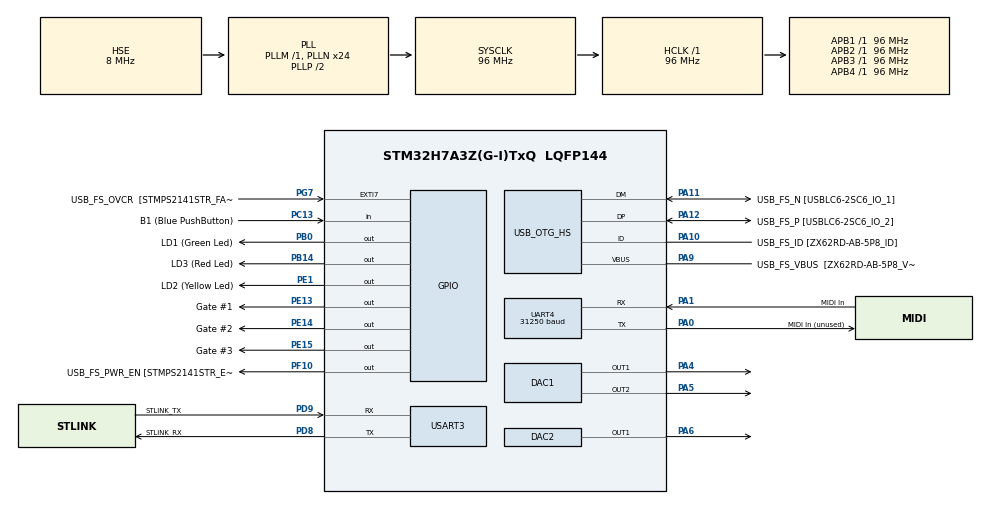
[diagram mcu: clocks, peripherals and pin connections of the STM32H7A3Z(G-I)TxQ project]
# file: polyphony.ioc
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DAC1.DAC_Channel-DAC_OUT1_ExtAndInt=DAC_CHANNEL_1
DAC1.DAC_Channel-DAC_OUT2_ExtAndInt=DAC_CHANNEL_2
DAC2.DAC_Channel-DAC_OUT1_ExtAndInt=DAC_CHANNEL_1
Mcu.Family=STM32H7
Mcu.Name=STM32H7A3Z(G-I)TxQ
Mcu.Package=LQFP144
NVIC.PriorityGroup=NVIC_PRIORITYGROUP_4
NVIC.TIM16_IRQn=true\:0\:0\:false\:false\:true\:true\:true
NVIC.UART4_IRQn=true\:0\:0\:false\:false\:true\:true\:true
PA0.GPIO_Label=MIDI In (unused)
PA0.Mode=Asynchronous
PA0.Signal=UART4_TX
PA1.GPIO_Label=MIDI In
PA1.Mode=Asynchronous
PA1.Signal=UART4_RX
PA10.GPIO_Label=USB_FS_ID [ZX62RD-AB-5P8_ID]
PA10.Mode=OTG/Dual-Role-Device-FS
PA10.Signal=USB_OTG_HS_ID
PA11.GPIO_Label=USB_FS_N [USBLC6-2SC6_IO_1]
PA11.Mode=OTG/Dual-Role-Device-FS
PA11.Signal=USB_OTG_HS_DM
PA12.GPIO_Label=USB_FS_P [USBLC6-2SC6_IO_2]
PA12.Mode=OTG/Dual-Role-Device-FS
PA12.Signal=USB_OTG_HS_DP
PA4.Signal=COMP_DAC11_group
PA5.Signal=COMP_DAC12_group
PA6.Signal=COMP_DAC21_group
PA9.GPIO_Label=USB_FS_VBUS  [ZX62RD-AB-5P8_VBUS]
PA9.Mode=Activate_VBUS_FS
PA9.Signal=USB_OTG_HS_VBUS
PB0.GPIO_Label=LD1 (Green Led)
PB0.Signal=GPIO_Output
PB14.GPIO_Label=LD3 (Red Led)
PB14.Signal=GPIO_Output
PC13.GPIO_Label=B1 (Blue PushButton)
PC13.Signal=GPIO_Input
PC14-OSC32_IN.GPIO_Label=OSC32_IN
PC14-OSC32_IN.Mode=LSE-External-Oscillator
PC14-OSC32_IN.Signal=RCC_OSC32_IN
PC15-OSC32_OUT.GPIO_Label=OSC32_OUT
PC15-OSC32_OUT.Mode=LSE-External-Oscillator
PC15-OSC32_OUT.Signal=RCC_OSC32_OUT
PD8.GPIO_Label=STLINK_RX
PD8.Mode=Asynchronous
PD8.Signal=USART3_TX
PD9.GPIO_Label=STLINK_TX
PD9.Mode=Asynchronous
PD9.Signal=USART3_RX
PE1.GPIO_Label=LD2 (Yellow Led)
PE1.Signal=GPIO_Output
PE13.GPIO_Label=Gate \#1
PE13.GPIO_PuPd=GPIO_PULLDOWN
PE13.PinState=GPIO_PIN_SET
PE13.Signal=GPIO_Output
PE14.GPIO_Label=Gate \#2
PE14.PinState=GPIO_PIN_SET
PE14.Signal=GPIO_Output
PE15.GPIO_Label=Gate \#3
PE15.GPIO_PuPd=GPIO_PULLDOWN
PE15.PinState=GPIO_PIN_SET
PE15.Signal=GPIO_Output
PF10.GPIO_Label=USB_FS_PWR_EN [STMPS2141STR_EN]
PF10.Signal=GPIO_Output
PG7.GPIO_Label=USB_FS_OVCR  [STMPS2141STR_FAULT]
PG7.Signal=GPXTI7
PH0-OSC_IN.GPIO_Label=PH0-MCU
PH0-OSC_IN.Mode=HSE-External-Clock-Source
PH0-OSC_IN.Signal=RCC_OSC_IN
PH1-OSC_OUT.GPIO_Label=PH1-MCU
PH1-OSC_OUT.Signal=RCC_OSC_OUT
ProjectManager.HeapSize=0x200
ProjectManager.StackSize=0x400
ProjectManager.TargetToolchain=STM32CubeIDE
RCC.ADCFreq_Value=16125000
RCC.APB1Freq_Value=96000000
RCC.APB2Freq_Value=96000000
RCC.APB3Freq_Value=96000000
RCC.APB4Freq_Value=96000000
RCC.CortexFreq_Value=96000000
RCC.DIVM1=1
RCC.DIVM3=1
RCC.DIVN1=24
RCC.DIVN3=24
RCC.DIVQ1=4
RCC.HCLKFreq_Value=96000000
RCC.HSE_VALUE=8000000
RCC.PLLFRACN=0
RCC.PLLSourceVirtual=RCC_PLLSOURCE_HSE
RCC.PWR_Regulator_Voltage_Scale=PWR_REGULATOR_VOLTAGE_SCALE0
RCC.SYSCLKFreq_VALUE=96000000
RCC.SYSCLKSource=RCC_SYSCLKSOURCE_PLLCLK
RCC.SupplySource=PWR_DIRECT_SMPS_SUPPLY
RCC.USBCLockSelection=RCC_USBCLKSOURCE_HSI48
RCC.USBFreq_Value=48000000
SH.COMP_DAC11_group.0=DAC1_OUT1,DAC_OUT1_ExtAndInt
SH.COMP_DAC12_group.0=DAC1_OUT2,DAC_OUT2_ExtAndInt
SH.COMP_DAC21_group.0=DAC2_OUT1,DAC_OUT1_ExtAndInt
UART4.BaudRate=31250
USART3.VirtualMode-Asynchronous=VM_ASYNC
VP_TIM16_VS_ClockSourceINT.Mode=Enable_Timer
board=NUCLEO-H7A3ZI-Q

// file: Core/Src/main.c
/* USER CODE BEGIN Header */
/**
  ******************************************************************************
  * @file           : main.c
  * @brief          : Main program body
  ******************************************************************************
  * @attention
  *
  * <h2><center>&copy; Copyright (c) 2021 STMicroelectronics.
  * All rights reserved.</center></h2>
  *
  * This software component is licensed by ST under BSD 3-Clause license,
  * the "License"; You may not use this file except in compliance with the
  * License. You may obtain a copy of the License at:
  *                        opensource.org/licenses/BSD-3-Clause
  *
  ******************************************************************************
  */

#include <stdio.h>
#include "main.h"
#include "buffer.h"
#include "midi.h"
#include "misc.h"
/* USER CODE END Header */
#include "main.h"

/* USER CODE BEGIN PD */
#define OUTPUT_BUFFERSIZE 512 // need 2^n
#define VOLTAGE_SCALE_FACTOR 0.25
#define GATE_VOLTAGE_SETTING 5.0
#define DAC_OUTPUT_MAX 4095
/* USER CODE END PD */

DAC_HandleTypeDef hdac1;
DAC_HandleTypeDef hdac2;

TIM_HandleTypeDef htim16;

UART_HandleTypeDef huart4;
UART_HandleTypeDef huart3;

/* USER CODE BEGIN PV */
uint8_t midi_received_buf;

typedef struct {
	uint16_t buffer[OUTPUT_BUFFERSIZE * 2];
	volatile uint16_t idx;
	uint8_t started_flag;
	int16_t err_distance;
} output_buffer_t;

output_buffer_t outbuf;
/* USER CODE END PV */

void SystemClock_Config(void);
static void MX_GPIO_Init(void);
static void MX_USART3_UART_Init(void);
static void MX_USB_OTG_HS_USB_Init(void);
static void MX_DAC1_Init(void);
static void MX_DAC2_Init(void);
static void MX_TIM16_Init(void);
static void MX_UART4_Init(void);

/* USER CODE BEGIN 0 */
void user_init()
{
	outbuf.idx = 0;
	outbuf.started_flag = 0;
	outbuf.err_distance = 0;

	// MIDI Initializations.
	if (midi_init() == FUNC_ERROR) {
		while(1);
	}

	HAL_DAC_Start(&hdac1, DAC_CHANNEL_1);
    HAL_DAC_Start(&hdac1, DAC_CHANNEL_2);
    HAL_DAC_Start(&hdac2, DAC_CHANNEL_1);

	// start MIDI message reception with interrupt.
	HAL_UART_Receive_IT(&huart4, &midi_received_buf, 1);

	// Start the timer.
	HAL_TIM_Base_Start_IT(&htim16);
}

void update_dac_values() {
	uint8_t i;
	uint32_t cv_out;
	uint8_t gate_out;
	for (i = 0; i < MAX_VOICES; i++) {
		cv_out = 0;
		gate_out = 0;

		cv_out = (uint32_t)((voices[i].note_number * 0.0833333333 * VOLTAGE_SCALE_FACTOR) / (3.3 / 4096));
		if (cv_out >= DAC_OUTPUT_MAX) {
			cv_out = (uint32_t)DAC_OUTPUT_MAX;
		}

		if (voices[i].active) {
			gate_out = 1;
		}

		// Send CV to relevant DAC.
		if (i == 0) {
			HAL_DAC_SetValue(&hdac1, DAC_CHANNEL_1, DAC_ALIGN_12B_R, cv_out);
		} else if (i == 1) {
			HAL_DAC_SetValue(&hdac1, DAC_CHANNEL_2, DAC_ALIGN_12B_R, cv_out);
		} else {
			HAL_DAC_SetValue(&hdac2, DAC_CHANNEL_1, DAC_ALIGN_12B_R, cv_out);
		}

		// Send Gate to relevant GPIO.
		if (i == 0) {
			HAL_GPIO_WritePin(GPIOE, GPIO_PIN_13, gate_out);
		} else if (i == 1) {
			HAL_GPIO_WritePin(GPIOE, GPIO_PIN_14, gate_out);
		} else {
			HAL_GPIO_WritePin(GPIOE, GPIO_PIN_15, gate_out);
		}
	}
}

void monitoring_buffer()
{
	// monitoring output buffer.
	if (outbuf.err_distance < -1 * OUTPUT_BUFFERSIZE) {
		// if buffer under-run error occurs.
		outbuf.idx += OUTPUT_BUFFERSIZE;
		outbuf.err_distance += OUTPUT_BUFFERSIZE;
	} else if (OUTPUT_BUFFERSIZE < outbuf.err_distance) {
		// if buffer over-run error occurs.
		outbuf.idx -= OUTPUT_BUFFERSIZE;
		outbuf.err_distance -= OUTPUT_BUFFERSIZE;
	}
}

void HAL_UART_RxCpltCallback(UART_HandleTypeDef *huart)
{
	if(huart->Instance == UART4)
	{
		midi_buffer_enqueue(&midi_received_buf);
		HAL_UART_Receive_IT(&huart4, &midi_received_buf, 1);
	}
}
void HAL_TIM_PeriodElapsedCallback(TIM_HandleTypeDef *htim)
{
	// Emit CV/Gate voltages.
	update_dac_values();
}
/* USER CODE END 0 */

int main(void)
{

  /* MCU Configuration--------------------------------------------------------*/

  /* Reset of all peripherals, Initializes the Flash interface and the Systick. */
  HAL_Init();

  /* USER CODE BEGIN Init */
	setbuf(stdout, NULL);
  /* USER CODE END Init */

  /* Configure the system clock */
  SystemClock_Config();

  /* Initialize all configured peripherals */
  MX_GPIO_Init();
  MX_USART3_UART_Init();
  MX_USB_OTG_HS_USB_Init();
  MX_DAC1_Init();
  MX_DAC2_Init();
  MX_TIM16_Init();
  MX_UART4_Init();
  /* USER CODE BEGIN 2 */

	user_init();

  /* USER CODE END 2 */

  /* Infinite loop */
  /* USER CODE BEGIN WHILE */
	while (1)
	{
		// Check for new MIDI events in the queue.
		midi_main();

		// Buffer maintenance.
		monitoring_buffer();
    /* USER CODE END WHILE */

	}
}

void SystemClock_Config(void)
{
  RCC_OscInitTypeDef RCC_OscInitStruct = {0};
  RCC_ClkInitTypeDef RCC_ClkInitStruct = {0};

  /** Supply configuration update enable
  */
  HAL_PWREx_ConfigSupply(PWR_DIRECT_SMPS_SUPPLY);
  /** Configure the main internal regulator output voltage
  */
  __HAL_PWR_VOLTAGESCALING_CONFIG(PWR_REGULATOR_VOLTAGE_SCALE0);

  while(!__HAL_PWR_GET_FLAG(PWR_FLAG_VOSRDY)) {}
  /** Initializes the RCC Oscillators according to the specified parameters
  * in the RCC_OscInitTypeDef structure.
  */
  RCC_OscInitStruct.OscillatorType = RCC_OSCILLATORTYPE_HSI48|RCC_OSCILLATORTYPE_LSI
                              |RCC_OSCILLATORTYPE_HSE;
  RCC_OscInitStruct.HSEState = RCC_HSE_BYPASS;
  RCC_OscInitStruct.LSIState = RCC_LSI_ON;
  RCC_OscInitStruct.HSI48State = RCC_HSI48_ON;
  RCC_OscInitStruct.PLL.PLLState = RCC_PLL_ON;
  RCC_OscInitStruct.PLL.PLLSource = RCC_PLLSOURCE_HSE;
  RCC_OscInitStruct.PLL.PLLM = 1;
  RCC_OscInitStruct.PLL.PLLN = 24;
  RCC_OscInitStruct.PLL.PLLP = 2;
  RCC_OscInitStruct.PLL.PLLQ = 4;
  RCC_OscInitStruct.PLL.PLLR = 2;
  RCC_OscInitStruct.PLL.PLLRGE = RCC_PLL1VCIRANGE_3;
  RCC_OscInitStruct.PLL.PLLVCOSEL = RCC_PLL1VCOWIDE;
  RCC_OscInitStruct.PLL.PLLFRACN = 0;
  if (HAL_RCC_OscConfig(&RCC_OscInitStruct) != HAL_OK)
  {
    Error_Handler();
  }
  /** Initializes the CPU, AHB and APB buses clocks
  */
  RCC_ClkInitStruct.ClockType = RCC_CLOCKTYPE_HCLK|RCC_CLOCKTYPE_SYSCLK
                              |RCC_CLOCKTYPE_PCLK1|RCC_CLOCKTYPE_PCLK2
                              |RCC_CLOCKTYPE_D3PCLK1|RCC_CLOCKTYPE_D1PCLK1;
  RCC_ClkInitStruct.SYSCLKSource = RCC_SYSCLKSOURCE_PLLCLK;
  RCC_ClkInitStruct.SYSCLKDivider = RCC_SYSCLK_DIV1;
  RCC_ClkInitStruct.AHBCLKDivider = RCC_HCLK_DIV1;
  RCC_ClkInitStruct.APB3CLKDivider = RCC_APB3_DIV1;
  RCC_ClkInitStruct.APB1CLKDivider = RCC_APB1_DIV1;
  RCC_ClkInitStruct.APB2CLKDivider = RCC_APB2_DIV1;
  RCC_ClkInitStruct.APB4CLKDivider = RCC_APB4_DIV1;

  if (HAL_RCC_ClockConfig(&RCC_ClkInitStruct, FLASH_LATENCY_2) != HAL_OK)
  {
    Error_Handler();
  }
}

static void MX_DAC1_Init(void)
{

  DAC_ChannelConfTypeDef sConfig = {0};

  /** DAC Initialization
  */
  hdac1.Instance = DAC1;
  if (HAL_DAC_Init(&hdac1) != HAL_OK)
  {
    Error_Handler();
  }
  /** DAC channel OUT1 config
  */
  sConfig.DAC_SampleAndHold = DAC_SAMPLEANDHOLD_DISABLE;
  sConfig.DAC_Trigger = DAC_TRIGGER_NONE;
  sConfig.DAC_OutputBuffer = DAC_OUTPUTBUFFER_ENABLE;
  sConfig.DAC_ConnectOnChipPeripheral = DAC_CHIPCONNECT_ENABLE;
  sConfig.DAC_UserTrimming = DAC_TRIMMING_FACTORY;
  if (HAL_DAC_ConfigChannel(&hdac1, &sConfig, DAC_CHANNEL_1) != HAL_OK)
  {
    Error_Handler();
  }
  /** DAC channel OUT2 config
  */
  if (HAL_DAC_ConfigChannel(&hdac1, &sConfig, DAC_CHANNEL_2) != HAL_OK)
  {
    Error_Handler();
  }

}

static void MX_DAC2_Init(void)
{

  DAC_ChannelConfTypeDef sConfig = {0};

  /** DAC Initialization
  */
  hdac2.Instance = DAC2;
  if (HAL_DAC_Init(&hdac2) != HAL_OK)
  {
    Error_Handler();
  }
  /** DAC channel OUT1 config
  */
  sConfig.DAC_SampleAndHold = DAC_SAMPLEANDHOLD_DISABLE;
  sConfig.DAC_Trigger = DAC_TRIGGER_NONE;
  sConfig.DAC_OutputBuffer = DAC_OUTPUTBUFFER_ENABLE;
  sConfig.DAC_ConnectOnChipPeripheral = DAC_CHIPCONNECT_ENABLE;
  sConfig.DAC_UserTrimming = DAC_TRIMMING_FACTORY;
  if (HAL_DAC_ConfigChannel(&hdac2, &sConfig, DAC_CHANNEL_1) != HAL_OK)
  {
    Error_Handler();
  }

}

static void MX_TIM16_Init(void)
{

  htim16.Instance = TIM16;
  htim16.Init.Prescaler = 0;
  htim16.Init.CounterMode = TIM_COUNTERMODE_UP;
  htim16.Init.Period = 65535;
  htim16.Init.ClockDivision = TIM_CLOCKDIVISION_DIV1;
  htim16.Init.RepetitionCounter = 0;
  htim16.Init.AutoReloadPreload = TIM_AUTORELOAD_PRELOAD_DISABLE;
  if (HAL_TIM_Base_Init(&htim16) != HAL_OK)
  {
    Error_Handler();
  }

}

static void MX_UART4_Init(void)
{

  huart4.Instance = UART4;
  huart4.Init.BaudRate = 31250;
  huart4.Init.WordLength = UART_WORDLENGTH_8B;
  huart4.Init.StopBits = UART_STOPBITS_1;
  huart4.Init.Parity = UART_PARITY_NONE;
  huart4.Init.Mode = UART_MODE_TX_RX;
  huart4.Init.HwFlowCtl = UART_HWCONTROL_NONE;
  huart4.Init.OverSampling = UART_OVERSAMPLING_16;
  huart4.Init.OneBitSampling = UART_ONE_BIT_SAMPLE_DISABLE;
  huart4.Init.ClockPrescaler = UART_PRESCALER_DIV1;
  huart4.AdvancedInit.AdvFeatureInit = UART_ADVFEATURE_NO_INIT;
  if (HAL_UART_Init(&huart4) != HAL_OK)
  {
    Error_Handler();
  }
  if (HAL_UARTEx_SetTxFifoThreshold(&huart4, UART_TXFIFO_THRESHOLD_1_8) != HAL_OK)
  {
    Error_Handler();
  }
  if (HAL_UARTEx_SetRxFifoThreshold(&huart4, UART_RXFIFO_THRESHOLD_1_8) != HAL_OK)
  {
    Error_Handler();
  }
  if (HAL_UARTEx_DisableFifoMode(&huart4) != HAL_OK)
  {
    Error_Handler();
  }

}

static void MX_USART3_UART_Init(void)
{

  huart3.Instance = USART3;
  huart3.Init.BaudRate = 115200;
  huart3.Init.WordLength = UART_WORDLENGTH_8B;
  huart3.Init.StopBits = UART_STOPBITS_1;
  huart3.Init.Parity = UART_PARITY_NONE;
  huart3.Init.Mode = UART_MODE_TX_RX;
  huart3.Init.HwFlowCtl = UART_HWCONTROL_NONE;
  huart3.Init.OverSampling = UART_OVERSAMPLING_16;
  huart3.Init.OneBitSampling = UART_ONE_BIT_SAMPLE_DISABLE;
  huart3.Init.ClockPrescaler = UART_PRESCALER_DIV1;
  huart3.AdvancedInit.AdvFeatureInit = UART_ADVFEATURE_NO_INIT;
  if (HAL_UART_Init(&huart3) != HAL_OK)
  {
    Error_Handler();
  }
  if (HAL_UARTEx_SetTxFifoThreshold(&huart3, UART_TXFIFO_THRESHOLD_1_8) != HAL_OK)
  {
    Error_Handler();
  }
  if (HAL_UARTEx_SetRxFifoThreshold(&huart3, UART_RXFIFO_THRESHOLD_1_8) != HAL_OK)
  {
    Error_Handler();
  }
  if (HAL_UARTEx_DisableFifoMode(&huart3) != HAL_OK)
  {
    Error_Handler();
  }

}

static void MX_USB_OTG_HS_USB_Init(void)
{

}

static void MX_GPIO_Init(void)
{
  GPIO_InitTypeDef GPIO_InitStruct = {0};

  /* GPIO Ports Clock Enable */
  __HAL_RCC_GPIOC_CLK_ENABLE();
  __HAL_RCC_GPIOF_CLK_ENABLE();
  __HAL_RCC_GPIOH_CLK_ENABLE();
  __HAL_RCC_GPIOA_CLK_ENABLE();
  __HAL_RCC_GPIOB_CLK_ENABLE();
  __HAL_RCC_GPIOE_CLK_ENABLE();
  __HAL_RCC_GPIOD_CLK_ENABLE();
  __HAL_RCC_GPIOG_CLK_ENABLE();

  /*Configure GPIO pin Output Level */
  HAL_GPIO_WritePin(USB_FS_PWR_EN_GPIO_Port, USB_FS_PWR_EN_Pin, GPIO_PIN_RESET);

  /*Configure GPIO pin Output Level */
  HAL_GPIO_WritePin(GPIOB, LD1_Pin|LD3_Pin, GPIO_PIN_RESET);

  /*Configure GPIO pin Output Level */
  HAL_GPIO_WritePin(GPIOE, Gate__1_Pin|Gate__2_Pin|Gate__3_Pin, GPIO_PIN_SET);

  /*Configure GPIO pin Output Level */
  HAL_GPIO_WritePin(LD2_GPIO_Port, LD2_Pin, GPIO_PIN_RESET);

  /*Configure GPIO pin : B1_Pin */
  GPIO_InitStruct.Pin = B1_Pin;
  GPIO_InitStruct.Mode = GPIO_MODE_INPUT;
  GPIO_InitStruct.Pull = GPIO_NOPULL;
  HAL_GPIO_Init(B1_GPIO_Port, &GPIO_InitStruct);

  /*Configure GPIO pin : USB_FS_PWR_EN_Pin */
  GPIO_InitStruct.Pin = USB_FS_PWR_EN_Pin;
  GPIO_InitStruct.Mode = GPIO_MODE_OUTPUT_PP;
  GPIO_InitStruct.Pull = GPIO_NOPULL;
  GPIO_InitStruct.Speed = GPIO_SPEED_FREQ_LOW;
  HAL_GPIO_Init(USB_FS_PWR_EN_GPIO_Port, &GPIO_InitStruct);

  /*Configure GPIO pins : LD1_Pin LD3_Pin */
  GPIO_InitStruct.Pin = LD1_Pin|LD3_Pin;
  GPIO_InitStruct.Mode = GPIO_MODE_OUTPUT_PP;
  GPIO_InitStruct.Pull = GPIO_NOPULL;
  GPIO_InitStruct.Speed = GPIO_SPEED_FREQ_LOW;
  HAL_GPIO_Init(GPIOB, &GPIO_InitStruct);

  /*Configure GPIO pins : Gate__1_Pin Gate__3_Pin */
  GPIO_InitStruct.Pin = Gate__1_Pin|Gate__3_Pin;
  GPIO_InitStruct.Mode = GPIO_MODE_OUTPUT_PP;
  GPIO_InitStruct.Pull = GPIO_PULLDOWN;
  GPIO_InitStruct.Speed = GPIO_SPEED_FREQ_LOW;
  HAL_GPIO_Init(GPIOE, &GPIO_InitStruct);

  /*Configure GPIO pins : Gate__2_Pin LD2_Pin */
  GPIO_InitStruct.Pin = Gate__2_Pin|LD2_Pin;
  GPIO_InitStruct.Mode = GPIO_MODE_OUTPUT_PP;
  GPIO_InitStruct.Pull = GPIO_NOPULL;
  GPIO_InitStruct.Speed = GPIO_SPEED_FREQ_LOW;
  HAL_GPIO_Init(GPIOE, &GPIO_InitStruct);

  /*Configure GPIO pin : USB_FS_OVCR_Pin */
  GPIO_InitStruct.Pin = USB_FS_OVCR_Pin;
  GPIO_InitStruct.Mode = GPIO_MODE_IT_RISING;
  GPIO_InitStruct.Pull = GPIO_NOPULL;
  HAL_GPIO_Init(USB_FS_OVCR_GPIO_Port, &GPIO_InitStruct);

  /*Configure GPIO pin : USB_FS_VBUS_Pin */
  GPIO_InitStruct.Pin = USB_FS_VBUS_Pin;
  GPIO_InitStruct.Mode = GPIO_MODE_INPUT;
  GPIO_InitStruct.Pull = GPIO_NOPULL;
  HAL_GPIO_Init(USB_FS_VBUS_GPIO_Port, &GPIO_InitStruct);

  /*Configure GPIO pin : USB_FS_ID_Pin */
  GPIO_InitStruct.Pin = USB_FS_ID_Pin;
  GPIO_InitStruct.Mode = GPIO_MODE_AF_PP;
  GPIO_InitStruct.Pull = GPIO_NOPULL;
  GPIO_InitStruct.Speed = GPIO_SPEED_FREQ_LOW;
  GPIO_InitStruct.Alternate = GPIO_AF10_OTG1_HS;
  HAL_GPIO_Init(USB_FS_ID_GPIO_Port, &GPIO_InitStruct);

  /*Configure GPIO pins : USB_FS_N_Pin USB_FS_P_Pin */
  GPIO_InitStruct.Pin = USB_FS_N_Pin|USB_FS_P_Pin;
  GPIO_InitStruct.Mode = GPIO_MODE_AF_PP;
  GPIO_InitStruct.Pull = GPIO_NOPULL;
  GPIO_InitStruct.Speed = GPIO_SPEED_FREQ_LOW;
  HAL_GPIO_Init(GPIOA, &GPIO_InitStruct);

}

void Error_Handler(void)
{
  __disable_irq();
  while (1)
  {
  }
}

/************************ (C) COPYRIGHT STMicroelectronics *****END OF FILE****/
